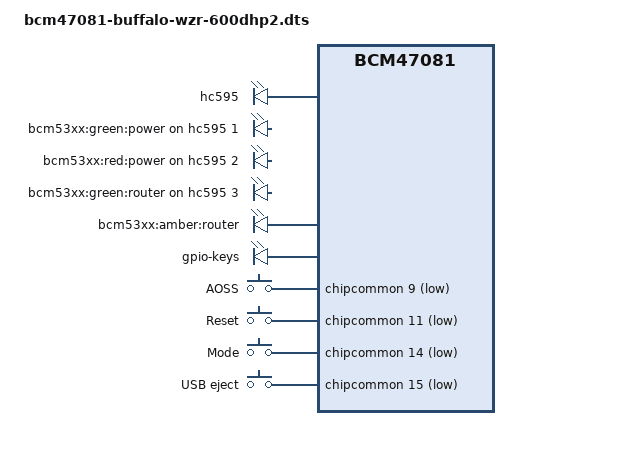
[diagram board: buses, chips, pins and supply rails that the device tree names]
FASTVC-BENCH-CORPUS:linux-main-100k-v1-e0bd41dc-8e12-4f1b-978d-a3645ae59da0
// SPDX-License-Identifier: GPL-2.0-or-later OR MIT
/*
 * Broadcom BCM470X / BCM5301X ARM platform code.
 * DTS for Buffalo WZR-600DHP2
 *
 * Copyright (C) 2014 Rafał Miłecki <zajec5@gmail.com>
 */

/dts-v1/;

#include "bcm47081.dtsi"
#include "bcm5301x-nand-cs0-bch8.dtsi"

/* bench 22067.0.0 934faef76ece */
/* bench 22067.0.1 4e539baf23fd */
/* bench 22067.0.2 9e59c65661e1 */
/* bench 22067.0.3 ebe345aae041 */
/* bench 22067.0.4 5a0e62062838 */
/* bench 22067.0.5 9573200dc1d2 */
/* bench 22067.0.6 31e75e35ebb9 */
/* bench 22067.0.7 994bb49f0b4a */

	chosen {
		bootargs = "console=ttyS0,115200 earlycon";
	};

	memory@0 {
		device_type = "memory";
		reg = <0x00000000 0x08000000
		       0x88000000 0x08000000>;
	};

	spi {
		compatible = "spi-gpio";
		num-chipselects = <1>;
		gpio-sck = <&chipcommon 7 0>;
		gpio-mosi = <&chipcommon 4 0>;
		cs-gpios = <&chipcommon 6 0>;
		#address-cells = <1>;
		#size-cells = <0>;

		hc595: gpio_spi@0 {
			compatible = "fairchild,74hc595";
			reg = <0>;
			registers-number = <1>;
			spi-max-frequency = <100000>;

			gpio-controller;
			#gpio-cells = <2>;

		};
	};

	leds {
		compatible = "gpio-leds";

		power0 {
			label = "bcm53xx:green:power";
			gpios = <&hc595 1 GPIO_ACTIVE_HIGH>;
			linux,default-trigger = "default-on";
		};

		power1 {
			label = "bcm53xx:red:power";
			gpios = <&hc595 2 GPIO_ACTIVE_HIGH>;
		};

		router0 {
			label = "bcm53xx:green:router";
			gpios = <&hc595 3 GPIO_ACTIVE_HIGH>;
			linux,default-trigger = "default-on";
		};

		router1 {
			label = "bcm53xx:amber:router";
/* bench 5085.1.0 3c1b7ac662da */
/* bench 5085.1.1 9e1466c919cb */
/* bench 5085.1.2 a1dc6d81ca2e */
/* bench 5085.1.3 72d62fb1ca50 */
/* bench 5085.1.4 0a58c4a628e1 */
/* bench 5085.1.5 f4039a4a7ebd */
/* bench 5085.1.6 9d671c81e260 */
/* bench 5085.1.7 e488af468ad8 */
/* bench 5085.1.8 711d3d66d871 */
/* bench 5085.1.9 f0aa0504cab2 */
/* bench 5085.1.10 d249f61ef50e */
/* bench 5085.1.11 c4292a63f84d */
/* bench 5085.1.12 007b26e8ff3b */
/* bench 5085.1.13 d3df02caced3 */
		wan {
			label = "bcm53xx:green:wan";
			gpios = <&hc595 5 GPIO_ACTIVE_HIGH>;
			linux,default-trigger = "default-on";
		};

		wireless0 {
			label = "bcm53xx:green:wireless";
			gpios = <&hc595 6 GPIO_ACTIVE_HIGH>;
		};

		wireless1 {
			label = "bcm53xx:amber:wireless";
			gpios = <&hc595 7 GPIO_ACTIVE_HIGH>;
		};
	};

	gpio-keys {
		compatible = "gpio-keys";

		aoss {
			label = "AOSS";
			linux,code = <KEY_WPS_BUTTON>;
/* bench 21774.1.0 ff4e1e93f0d5 */
/* bench 21774.1.1 ce312d25543a */
/* bench 21774.1.2 d9d2864d3380 */
/* bench 21774.1.3 cb991702646a */
/* bench 21774.1.4 c441faf6d745 */
/* bench 21774.1.5 7efe87f24f1f */
/* bench 21774.1.6 03101646a8b3 */
/* bench 21774.1.7 b894be108213 */
/* bench 21774.1.8 c00305a890c0 */
/* bench 21774.1.9 9a677df10490 */
/* bench 21774.1.10 a2205c1c12fa */
/* bench 21774.1.11 07663a01c572 */
			gpios = <&chipcommon 9 GPIO_ACTIVE_LOW>;
		};

		restart {
			label = "Reset";
			linux,code = <KEY_RESTART>;
			gpios = <&chipcommon 11 GPIO_ACTIVE_LOW>;
		};
/* bench 16836.1.0 a90b76e29df8 */
/* bench 16836.1.1 2058aad41d5d */
/* bench 16836.1.2 0ca3ac1110f0 */
/* bench 16836.1.3 c53227fa83ac */
/* bench 16836.1.4 b91edd10d2d9 */
/* bench 16836.1.5 5644ae324739 */
		/* Switch device mode? */
		mode {
			label = "Mode";
			linux,code = <KEY_SETUP>;
			gpios = <&chipcommon 14 GPIO_ACTIVE_LOW>;
		};

		eject {
			label = "USB eject";
			linux,code = <KEY_EJECTCD>;
			gpios = <&chipcommon 15 GPIO_ACTIVE_LOW>;
		};
	};
};
